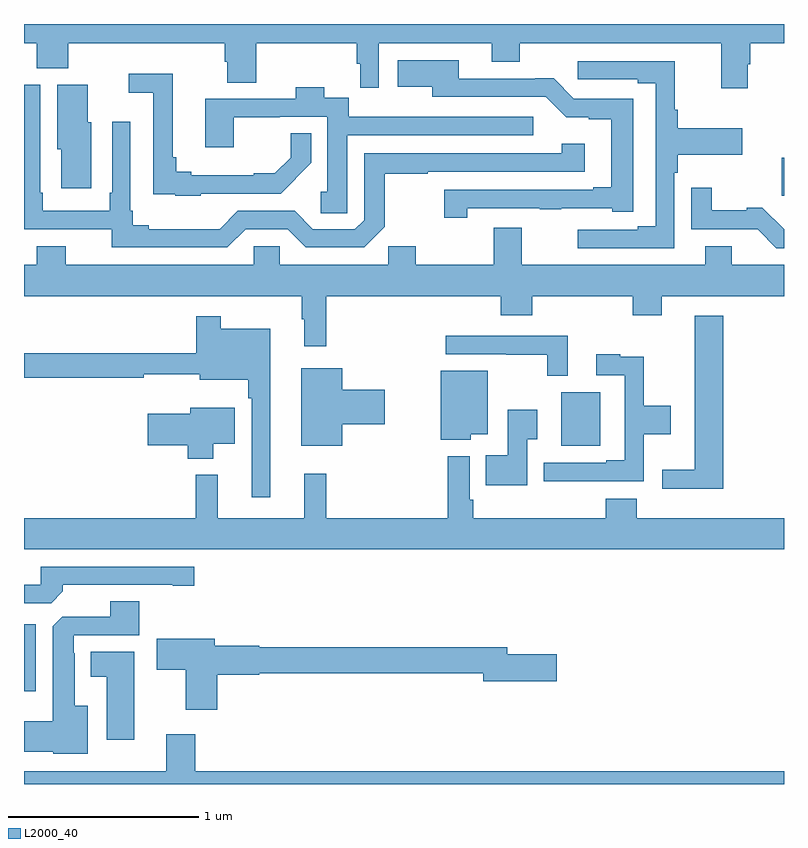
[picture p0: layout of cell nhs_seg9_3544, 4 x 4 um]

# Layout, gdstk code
import gdstk
lib = gdstk.Library(unit=1e-6, precision=1e-09)
def R(c, l, rs):  # rectangles x0, y0, x1, y1
    for r in rs: c.add(gdstk.rectangle(r[:2], r[2:], *l))
def P(c, l, *ps):  # polygons
    for p in ps: c.add(gdstk.Polygon(p, *l))
L2000_40 = (2000, 40)

nhs_seg9_3544 = lib.new_cell('nhs_seg9_3544')
R(nhs_seg9_3544, L2000_40, [(313,1212.989,313.063,1213.342), (315.827,1214.279,316.033,1214.563), (316.988,1215.596,317,1215.797)])
P(nhs_seg9_3544, L2000_40, [(316.81,1216.289),(316.823,1216.289),(316.823,1216.4),(317,1216.4),(317,1216.5),(313,1216.5),(313,1216.4),(313.067,1216.4),(313.067,1216.266),(313.232,1216.266),(313.232,1216.4),(314.057,1216.4),(314.057,1216.302),(314.069,1216.302),(314.069,1216.192),(314.222,1216.192),(314.222,1216.4),(314.752,1216.4),(314.752,1216.29),(314.771,1216.29),(314.771,1216.164),(314.868,1216.164),(314.868,1216.4),(315.461,1216.4),(315.461,1216.301),(315.609,1216.301),(315.609,1216.4),(316.67,1216.4),(316.67,1216.161),(316.81,1216.161)],
  [(315.333,1215.531),(315.715,1215.531),(315.715,1215.526),(315.827,1215.526),(315.827,1215.531),(316.095,1215.531),(316.095,1215.513),(316.207,1215.513),(316.207,1216.107),(315.894,1216.107),(315.788,1216.214),(315.692,1216.214),(315.692,1216.212),(315.289,1216.212),(315.289,1216.309),(314.967,1216.309),(314.967,1216.169),(315.149,1216.169),(315.149,1216.116),(315.747,1216.116),(315.853,1216.01),(315.972,1216.01),(315.972,1215.999),(316.091,1215.999),(316.091,1215.64),(315.995,1215.64),(315.995,1215.627),(315.213,1215.627),(315.213,1215.48),(315.333,1215.48)],
  [(316.422,1215.716),(316.442,1215.716),(316.442,1215.812),(316.78,1215.812),(316.78,1215.952),(316.442,1215.952),(316.442,1216.048),(316.425,1216.048),(316.425,1216.305),(315.915,1216.305),(315.915,1216.209),(316.229,1216.209),(316.229,1216.189),(316.326,1216.189),(316.326,1215.435),(316.229,1215.435),(316.229,1215.417),(315.915,1215.417),(315.915,1215.321),(316.422,1215.321)],
  [(313.929,1215.606),(314.35,1215.606),(314.429,1215.685),(314.428,1215.686),(314.512,1215.769),(314.512,1215.926),(314.403,1215.926),(314.403,1215.797),(314.319,1215.714),(314.21,1215.714),(314.21,1215.703),(313.879,1215.703),(313.879,1215.722),(313.801,1215.722),(313.801,1215.799),(313.783,1215.799),(313.783,1216.237),(313.551,1216.237),(313.551,1216.139),(313.679,1216.139),(313.679,1215.605),(313.797,1215.605),(313.797,1215.596),(313.929,1215.596)],
  [(313.354,1215.984),(313.336,1215.984),(313.336,1216.18),(313.175,1216.18),(313.175,1215.84),(313.196,1215.84),(313.196,1215.636),(313.354,1215.636)],
  [(314.166,1215.42),(314.388,1215.42),(314.484,1215.324),(314.79,1215.324),(314.899,1215.433),(314.899,1215.711),(315.125,1215.711),(315.125,1215.723),(315.952,1215.723),(315.952,1215.871),(315.831,1215.871),(315.831,1215.819),(314.79,1215.819),(314.79,1215.468),(314.742,1215.42),(314.52,1215.42),(314.424,1215.516),(314.124,1215.516),(314.029,1215.421),(313.657,1215.421),(313.657,1215.44),(313.573,1215.44),(313.573,1215.517),(313.56,1215.517),(313.56,1215.985),(313.464,1215.985),(313.464,1215.613),(313.452,1215.613),(313.452,1215.516),(313.099,1215.516),(313.099,1215.613),(313.086,1215.613),(313.086,1216.179),(313,1216.179),(313,1215.42),(313.462,1215.42),(313.462,1215.324),(314.07,1215.324)],
  [(314.7,1215.613),(314.701,1215.613),(314.701,1215.915),(315.679,1215.915),(315.679,1216.011),(314.979,1216.011),(314.979,1216.012),(314.71,1216.012),(314.71,1216.111),(314.581,1216.111),(314.581,1216.168),(314.429,1216.168),(314.429,1216.107),(313.955,1216.107),(313.955,1215.852),(314.103,1215.852),(314.103,1216.01),(314.345,1216.01),(314.345,1216.011),(314.597,1216.011),(314.597,1215.616),(314.562,1215.616),(314.562,1215.505),(314.7,1215.505)],
  [(317,1215.419),(316.886,1215.533),(316.805,1215.533),(316.805,1215.521),(316.621,1215.521),(316.621,1215.637),(316.512,1215.637),(316.512,1215.419),(316.862,1215.419),(316.959,1215.321),(317,1215.321)],
  [(314.591,1215.068),(315.509,1215.068),(315.509,1214.966),(315.674,1214.966),(315.674,1215.068),(316.205,1215.068),(316.205,1214.966),(316.357,1214.966),(316.357,1215.068),(317,1215.068),(317,1215.232),(316.726,1215.232),(316.726,1215.331),(316.586,1215.331),(316.586,1215.232),(315.619,1215.232),(315.619,1215.427),(315.472,1215.427),(315.472,1215.232),(315.063,1215.232),(315.063,1215.33),(314.917,1215.33),(314.917,1215.232),(314.346,1215.232),(314.346,1215.33),(314.208,1215.33),(314.208,1215.232),(313.219,1215.232),(313.219,1215.331),(313.067,1215.331),(313.067,1215.232),(313,1215.232),(313,1215.068),(314.463,1215.068),(314.463,1214.945),(314.474,1214.945),(314.474,1214.805),(314.591,1214.805)],
  [(316.679,1214.965),(316.529,1214.965),(316.529,1214.153),(316.359,1214.153),(316.359,1214.054),(316.679,1214.054)],
  [(314.296,1214.896),(314.035,1214.896),(314.035,1214.962),(313.906,1214.962),(313.906,1214.767),(313,1214.767),(313,1214.638),(313.629,1214.638),(313.629,1214.657),(313.925,1214.657),(313.925,1214.627),(314.179,1214.627),(314.179,1214.531),(314.199,1214.531),(314.199,1214.01),(314.296,1214.01)],
  [(315.862,1214.859),(315.219,1214.859),(315.219,1214.763),(315.538,1214.763),(315.538,1214.758),(315.753,1214.758),(315.753,1214.648),(315.862,1214.648)],
  [(315.977,1214.094),(316.262,1214.094),(316.262,1214.342),(316.405,1214.342),(316.405,1214.49),(316.262,1214.49),(316.262,1214.75),(316.139,1214.75),(316.139,1214.761),(316.011,1214.761),(316.011,1214.652),(316.161,1214.652),(316.161,1214.203),(316.064,1214.203),(316.064,1214.19),(315.735,1214.19),(315.735,1214.093),(315.977,1214.093)],
  [(314.674,1214.393),(314.899,1214.393),(314.899,1214.576),(314.674,1214.576),(314.674,1214.689),(314.459,1214.689),(314.459,1214.279),(314.674,1214.279)],
  [(315.352,1214.342),(315.442,1214.342),(315.442,1214.674),(315.194,1214.674),(315.194,1214.312),(315.352,1214.312)],
  [(313.996,1214.291),(314.11,1214.291),(314.11,1214.479),(313.874,1214.479),(313.874,1214.449),(313.65,1214.449),(313.65,1214.284),(313.862,1214.284),(313.862,1214.213),(313.996,1214.213)],
  [(315.649,1214.314),(315.7,1214.314),(315.7,1214.47),(315.545,1214.47),(315.545,1214.23),(315.43,1214.23),(315.43,1214.072),(315.649,1214.072)],
  [(317,1213.9),(316.226,1213.9),(316.226,1214.002),(316.061,1214.002),(316.061,1213.9),(315.365,1213.9),(315.365,1213.996),(315.345,1213.996),(315.345,1214.224),(315.229,1214.224),(315.229,1213.9),(314.591,1213.9),(314.591,1214.134),(314.474,1214.134),(314.474,1213.9),(314.021,1213.9),(314.021,1214.128),(313.903,1214.128),(313.903,1213.9),(313,1213.9),(313,1213.736),(317,1213.736)],
  [(313.205,1213.514),(313.205,1213.548),(313.784,1213.548),(313.784,1213.543),(313.897,1213.543),(313.897,1213.644),(313.089,1213.644),(313.089,1213.548),(313,1213.548),(313,1213.452),(313.143,1213.452)],
  [(313.336,1212.913),(313.267,1212.913),(313.267,1213.187),(313.263,1213.187),(313.263,1213.284),(313.607,1213.284),(313.607,1213.463),(313.454,1213.463),(313.454,1213.38),(313.2,1213.38),(313.151,1213.331),(313.151,1212.829),(313,1212.829),(313,1212.671),(313.155,1212.671),(313.155,1212.659),(313.336,1212.659)],
  [(314.018,1213.076),(314.238,1213.076),(314.238,1213.084),(315.416,1213.084),(315.416,1213.042),(315.805,1213.042),(315.805,1213.184),(315.544,1213.184),(315.544,1213.22),(314.238,1213.22),(314.238,1213.228),(314.005,1213.228),(314.005,1213.264),(313.698,1213.264),(313.698,1213.102),(313.85,1213.102),(313.85,1212.891),(314.018,1212.891)],
  [(313.579,1213.195),(313.352,1213.195),(313.352,1213.064),(313.436,1213.064),(313.436,1212.732),(313.579,1212.732)],
  [(317,1212.568),(313.901,1212.568),(313.901,1212.763),(313.748,1212.763),(313.748,1212.568),(313,1212.568),(313,1212.5),(317,1212.5)])

lib.write_gds('nhs_seg9_3544.gds')
